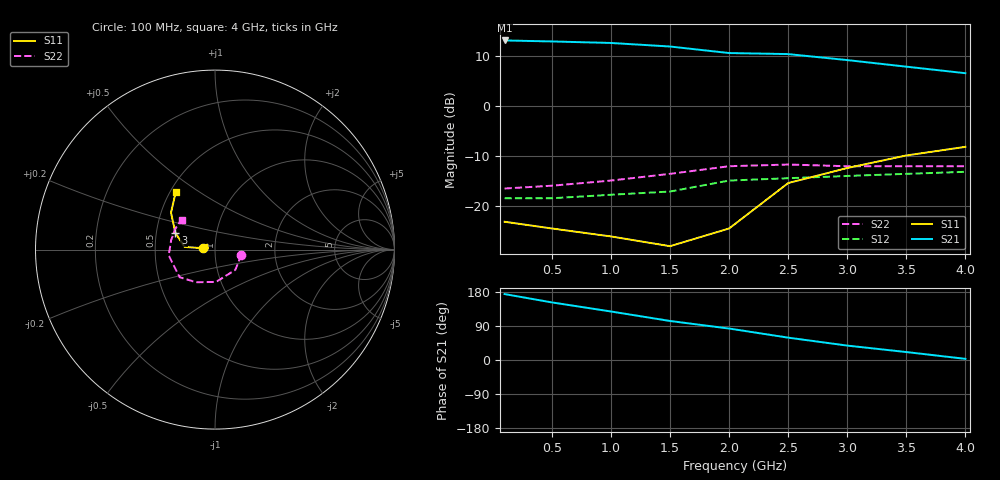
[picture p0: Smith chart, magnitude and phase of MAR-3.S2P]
! MAR-3.535  Mini Circuits
! MAR-3
! V=5V; I=35mA
! S-PARAMETER DATA
#  MHz  S  MA  R  50
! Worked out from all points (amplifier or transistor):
!   9 points, 100 MHz to 4 GHz, reference 50 ohm
!   highest |S21| = 13.0 dB at 100 MHz (marker M1)
!   |S21| within 3 dB of that: start of sweep to 2.619 GHz
!   unconditionally stable (mu >= 1): start of sweep to end of sweep
!   at 500 MHz: K = 1.18, MAG = 13.0 dB, |S12| = -18.4 dB
!   at 2 GHz: K = 1.07, MAG = 11.1 dB, |S12| = -14.9 dB
!   at 4 GHz: K = 1.08, MAG = 8.1 dB, |S12| = -13.2 dB
!   S11 on the Smith chart (normalised r, x): 100 MHz: 0.87, +0.02; 3 GHz: 0.63, +0.13; 4 GHz: 0.53, +0.41
100  0.07 172.0  4.47 174.0  0.12 1.0  0.15 -11.0
500  0.06 156.0  4.37 152.0  0.12 5.0  0.16 -45.0
1000  0.05 146.0  4.22 128.0  0.13 10.0  0.18 -88.0
1500  0.04 172.0  3.89 103.0  0.14 12.0  0.21 -120.0
2000  0.06 173.0  3.35 83.0  0.18 11.0  0.25 -142.0
2500  0.17 175.0  3.27 59.0  0.19 5.0  0.26 -173.0
3000  0.24 157.0  2.85 38.0  0.2 -0.0  0.25 168.0
3500  0.32 140.0  2.45 21.0  0.21 -6.0  0.25 152.0
4000  0.39 124.0  2.11 3.0  0.22 -14.0  0.25 138.0
